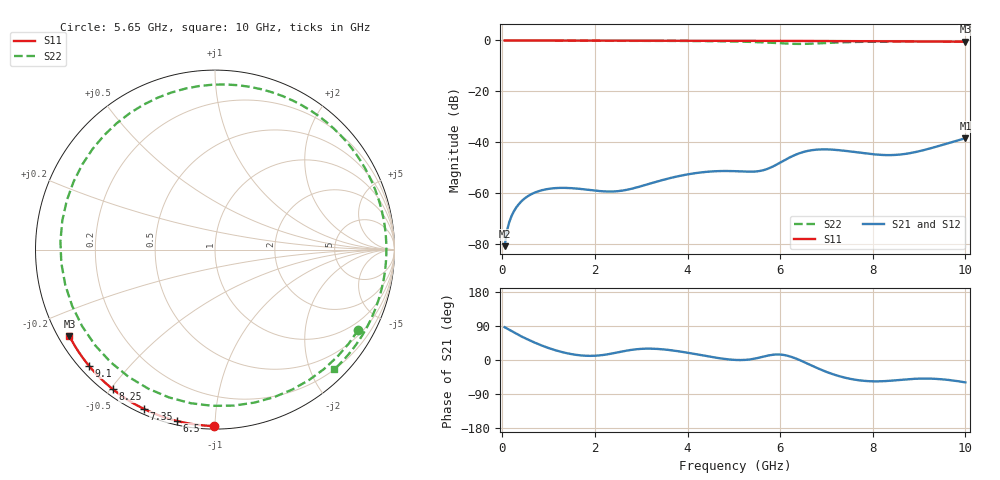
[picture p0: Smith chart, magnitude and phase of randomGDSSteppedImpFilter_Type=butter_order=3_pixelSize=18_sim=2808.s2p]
! freq	dB(S11)	phase(S11)	dB(S12)	phase(S12)
!  dB(S21)	phase(S21)	dB(S22)	phase(S22)
!S-par simulation data
#  GHz  S  DB  R 50
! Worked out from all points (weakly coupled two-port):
!   200 points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, 50 MHz to 10 GHz, reference 50 ohm
!   highest |S21| = -38.48 dB at 10 GHz (marker M1); lowest = -81.0 dB at 50 MHz (marker M2)
!   lowest |S11| = -0.5 dB at 10 GHz (marker M3), VSWR 34.38, Z = 1.56 - j13.7 ohm
!   |S11| at or under -10 dB: nowhere
!   |S22| runs from -1.4 to 0.0 dB; largest |S21 - S12| = 0
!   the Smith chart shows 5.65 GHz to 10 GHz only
!   S11 on the Smith chart (normalised r, x): 5.65 GHz: 0.02, -0.99; 6.5 GHz: 0.02, -0.80; 7.35 GHz: 0.02, -0.65; 8.25 GHz: 0.02, -0.51; 9.1 GHz: 0.03, -0.39; 10 GHz: 0.03, -0.27
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0.05  -0.00 -0.9  -80.97 86.6  -80.97 86.6  -0.00 -6.1
0.15  -0.00 -2.6  -71.52 79.8  -71.52 79.8  -0.02 -18.1
0.3  -0.01 -5.2  -65.78 69.8  -65.78 69.8  -0.05 -35.7
0.75  -0.02 -12.9  -59.54 43.3  -59.54 43.3  -0.09 -82.9
1.25  -0.03 -21.4  -58.03 22.2  -58.03 22.2  -0.12 -124.3
1.75  -0.04 -29.9  -58.56 11.6  -58.56 11.6  -0.12 -156.9
2.5  -0.05 -42.2  -59.32 20.3  -59.32 20.3  -0.14 163.3
3.4  -0.08 -56.7  -55.24 28.8  -55.24 28.8  -0.17 120.2
4.3  -0.10 -70.6  -51.92 12.8  -51.92 12.8  -0.25 74.4
5.05  -0.13 -81.8  -51.47 0.1  -51.47 0.1  -0.42 26.3
5.65  -0.15 -90.5  -51.00 9.3  -51.00 9.3  -0.77 -29.3
6.1  -0.17 -96.9  -47.08 12.8  -47.08 12.8  -1.20 -90.9
6.3  -0.18 -99.7  -45.24 5.8  -45.24 5.8  -1.34 -124.2
6.5  -0.19 -102.4  -43.91 -4.5  -43.91 -4.5  -1.36 -158.4
6.7  -0.21 -105.2  -43.15 -15.8  -43.15 -15.8  -1.25 169.2
7  -0.22 -109.3  -42.88 -31.4  -42.88 -31.4  -0.99 127.9
7.35  -0.25 -114.1  -43.34 -45.1  -43.34 -45.1  -0.74 90.9
7.8  -0.28 -120.1  -44.37 -54.8  -44.37 -54.8  -0.53 55.6
8.25  -0.32 -126.1  -45.10 -55.7  -45.10 -55.7  -0.44 28.5
8.35  -0.33 -127.4  -45.13 -55.0  -45.13 -55.0  -0.42 23.2
9.1  -0.40 -137.4  -43.17 -48.9  -43.17 -48.9  -0.41 -11.1
10  -0.51 -149.3  -38.48 -59.1  -38.48 -59.1  -0.53 -45.0
